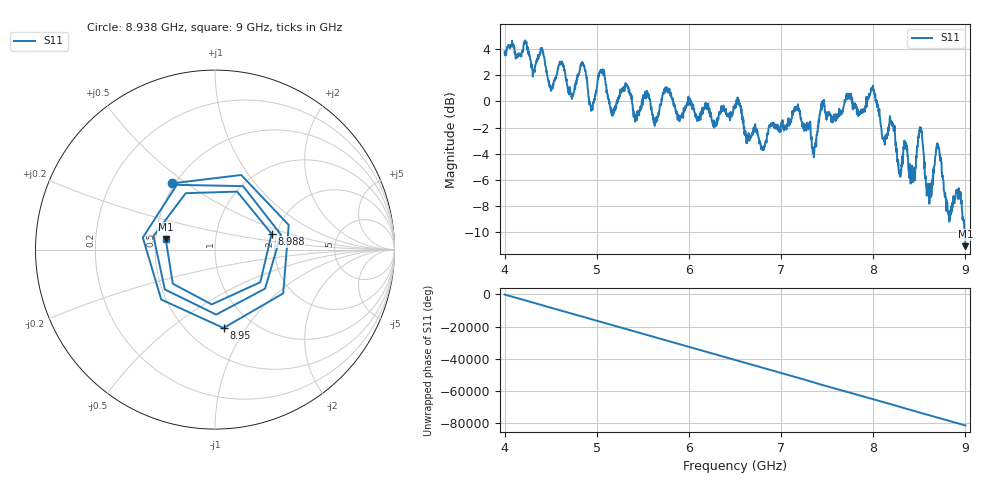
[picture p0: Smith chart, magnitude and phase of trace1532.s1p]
! Created with skrf 1.8.0 (http://scikit-rf.org).
# Hz S RI R 50.0
!freq ReS11 ImS11
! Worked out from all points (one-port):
!   1601 points, 4 GHz to 9 GHz, reference 50 ohm
!   lowest |S11| = -11.0 dB at 9 GHz (marker M1), VSWR 1.78, Z = 28.3 + j3.54 ohm
!   |S11| at or under -10 dB: 8.990038 GHz to end of sweep
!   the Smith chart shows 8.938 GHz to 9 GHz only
!   S11 on the Smith chart (normalised r, x): 8.938 GHz: 0.48, +0.44; 8.95 GHz: 0.73, -0.80; 8.988 GHz: 1.87, +0.37; 9 GHz: 0.57, +0.07
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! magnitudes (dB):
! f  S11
! 4 GHz  3.8
! 4.503 GHz  0.8
! 4.625 GHz  2.9
! 4.725 GHz  0.3
! 4.853 GHz  2.8
! 4.944 GHz  -0.5
! 5.053 GHz  2.4
! 5.159 GHz  -1.0
! 5.25 GHz  0.5
! 5.875 GHz  -1.2
! 6.5 GHz  -0.4
! 6.8 GHz  -3.6
! 7.125 GHz  -0.9
! 7.359 GHz  -4.0
! 7.447 GHz  0.0
! 7.75 GHz  0.2
! 7.997 GHz  1.2
! 8.284 GHz  -5.3
! 8.375 GHz  -4.2
! 8.431 GHz  -5.4
! 8.512 GHz  -2.3
! 8.6 GHz  -6.8
! 8.7 GHz  -3.3
! 8.816 GHz  -8.4
! 8.938 GHz  -7.1
! 8.95 GHz  -7.1
! 8.988 GHz  -9.7
! 9 GHz  -11.0
